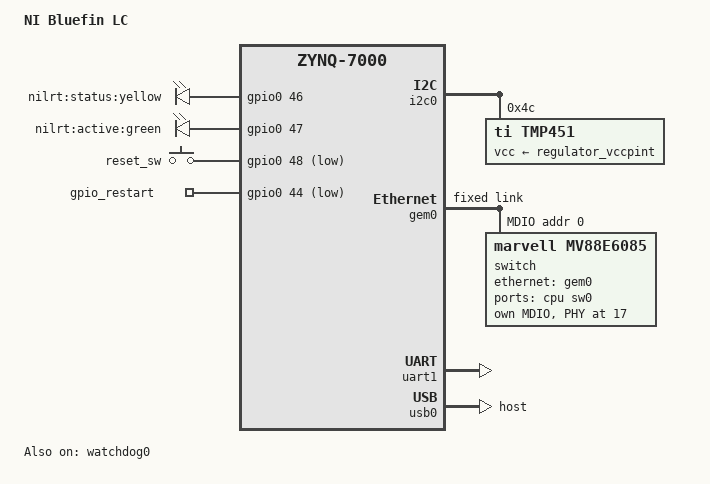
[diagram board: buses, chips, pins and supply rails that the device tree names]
// SPDX-License-Identifier: GPL-2.0
/dts-v1/;
#include <dt-bindings/interrupt-controller/irq.h>
/include/ "ni-zynq.dtsi"

/* NIDEVCODE 7B37 */
/* NIDEVCODE 7B38 */

/ {
	model = "NI Bluefin LC";
	compatible = "ni,zynq", "xlnx,zynq-7000";

	leds {
		compatible = "gpio-leds";

		/* LED_STATUSy on GPIO46 */
		status {
			label = "nilrt:status:yellow";
			gpios = <&gpio0 46 0>;
			default-state = "on";
		};

		/* LED_ACTIVEg on GPIO47 */
		active {
			label = "nilrt:active:green";
			gpios = <&gpio0 47 0>;
			default-state = "off";
		};
	};

	gpio_keys {
		compatible = "gpio-keys";
		#address-cells = <1>;
		#size-cells = <0>;

		/* Reset switch is on GPIO48 */
		reset_sw@0 {
			label = "reset_sw";
			gpios = <&gpio0 48 1 /* GPIO_ACTIVE_LOW */>;
			linux,code = <408>; /* KEY_RESTART */
			wakeup-source;
		};
	};

	gpio_restart {
		compatible = "gpio-restart";

		/* ~PS_FORCE_RESET is on GPIO44 */
		gpios = <&gpio0 44 1 /* GPIO_ACTIVE_LOW */>;
		priority = <200>;
	};
};

&i2c0 {
	/* Override ni-zynq.dtsi; we do not have a CPLD at 0x40. */
	nicpld@40 {
		status = "disabled";
	};

	tmp451@4c {
		compatible = "ti,tmp451";
		reg = <0x4c>;
		vcc-supply = <&regulator_vccpint>;
	};
};

&gem0 {
	status = "okay";
	#address-cells = <1>;
	#size-cells = <0>;

	fixed-link {
		speed = <1000>;
		full-duplex;
		reg = <0>;
	};

	mdio0: mdio {
		status = "okay";
	};
};

&mdio0 {
	#address-cells = <1>;
	#size-cells = <0>;

	switch: switch@0 {
		compatible = "marvell,mv88e6085";
		reg = <0>;
		status = "okay";
		interrupt-parent = <&intc>;
		interrupts = <45 IRQ_TYPE_LEVEL_LOW>;
		interrupt-controller;
		#interrupt-cells = <2>;

		ports {
			#address-cells = <1>;
			#size-cells = <0>;

			port@0 {
				reg = <0>;
				label = "cpu";
				phy-mode = "rgmii-id";
				ethernet = <&gem0>;
				fixed-link {
					speed = <1000>;
					full-duplex;
				};
			};

			port@1 {
				reg = <1>;
				label = "sw0";
				phy-handle = <&swphy1>;
			};
		};

		mdio {
			swphy1: ethernet-phy@11 {
				reg = <0x11>;
			};
		};
	};
};

&uart1 {
	status = "okay";
};

&usb0 {
	status = "okay";
	dr_mode = "host";
};

&watchdog0 {
	status = "okay";
	reset-on-timeout;
};
